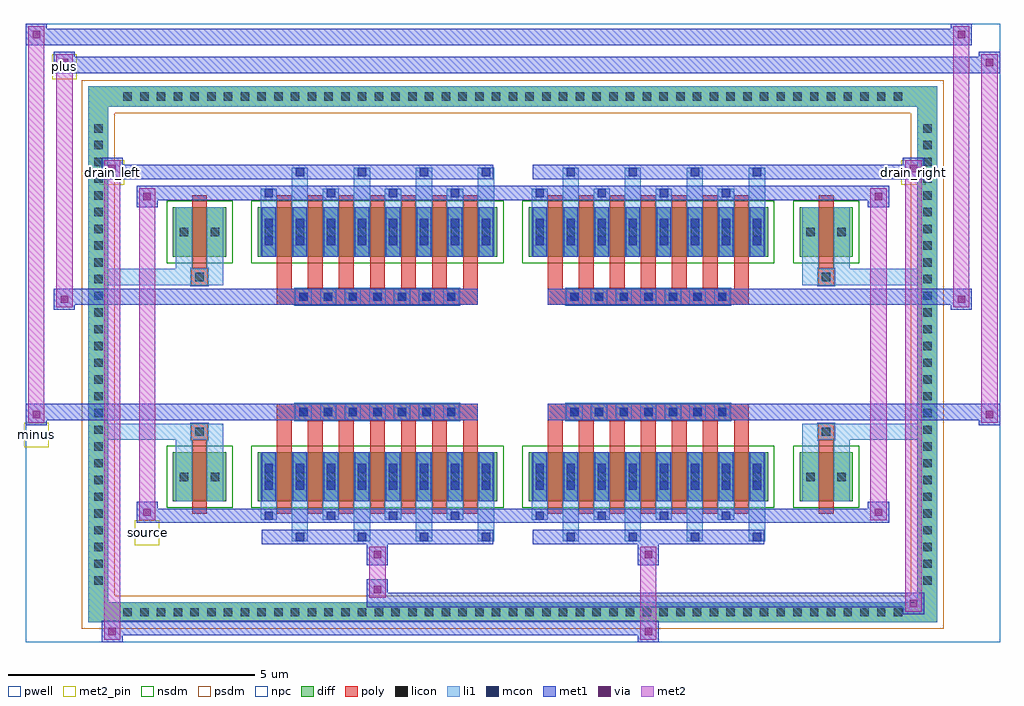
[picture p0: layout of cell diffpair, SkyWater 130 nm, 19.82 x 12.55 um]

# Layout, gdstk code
import gdstk
lib = gdstk.Library(unit=1e-6, precision=5e-09)
def R(c, l, rs):  # rectangles x0, y0, x1, y1
    for r in rs: c.add(gdstk.rectangle(r[:2], r[2:], *l))
def A(c, l, x, y, w, h, nx, ny, dx, dy):  # array of equal rectangles
    R(c, l, [(x+i*dx, y+j*dy, x+i*dx+w, y+j*dy+h) for i in range(nx) for j in range(ny)])
def P(c, l, *ps):  # polygons
    for p in ps: c.add(gdstk.Polygon(p, *l))
pwell = (64, 44)
diff = (65, 20)
poly = (66, 20)
licon = (66, 44)
li1 = (67, 20)
mcon = (67, 44)
met1 = (68, 20)
via = (68, 44)
met2_pin = (69, 16)
met2 = (69, 20)
nsdm = (93, 44)
psdm = (94, 20)
npc = (95, 20)

diffpair = lib.new_cell('diffpair')
R(diffpair, pwell, [(-9.89,-5.84,9.89,6.71), (-7.21,-4.03,-0.01,-0.805), (0.01,-4.03,7.21,-0.805), (-7.21,0.805,-0.01,4.03), (0.01,0.805,7.21,4.03)])
A(diffpair, diff, -8.025, -5.44, 0.41, 0.41, 47, 2, 0.34, 10.47)
A(diffpair, diff, -8.62, -4.795, 0.41, 0.41, 1, 28, 0, 0.34)
A(diffpair, diff, 8.21, -4.795, 0.41, 0.41, 1, 28, 0, 0.34)
R(diffpair, diff, [(-8.025,-5.44,8.025,-5.03), (-8.62,-4.795,-8.21,4.795), (8.21,-4.795,8.62,4.795), (-6.9,-2.985,-5.82,-1.985), (-5.18,-2.985,-0.32,-1.985), (0.32,-2.985,5.18,-1.985), (5.82,-2.985,6.9,-1.985), (-6.9,1.985,-5.82,2.985), (-5.18,1.985,-0.32,2.985), (0.32,1.985,5.18,2.985), (5.82,1.985,6.9,2.985), (-8.025,5.03,8.025,5.44)])
P(diffpair, diff, [(8.62,5.44),(-8.62,5.44),(-8.62,-5.03),(-8.21,-5.03),(-8.21,5.03),(8.21,5.03),(8.21,-5.03),(-8.21,-5.03),(-8.62,-5.03),(-8.62,-5.44),(8.62,-5.44)])
A(diffpair, poly, -4.79, -3.235, 0.3, 1.5, 7, 2, 0.63, 4.97)
A(diffpair, poly, 0.71, -3.235, 0.3, 1.5, 7, 2, 0.63, 4.97)
A(diffpair, poly, -4.79, -1.735, 0.3, 0.4, 7, 2, 0.63, 3.07)
A(diffpair, poly, 0.71, -1.735, 0.3, 0.4, 7, 2, 0.63, 3.07)
A(diffpair, poly, -4.415, -1.335, 0.33, 0.33, 7, 2, 0.5, 2.34)
A(diffpair, poly, 1.085, -1.335, 0.33, 0.33, 7, 2, 0.5, 2.34)
R(diffpair, poly, [(-6.51,-3.235,-6.21,-1.735), (6.21,-3.235,6.51,-1.735), (-6.525,-1.735,-6.195,-1.405), (-6.525,-1.735,-6.195,-1.405), (6.195,-1.735,6.525,-1.405), (6.195,-1.735,6.525,-1.405), (-4.79,-1.335,-0.71,-1.005), (0.71,-1.335,4.79,-1.005), (-4.79,1.005,-0.71,1.335), (0.71,1.005,4.79,1.335), (-6.525,1.405,-6.195,1.735), (-6.525,1.405,-6.195,1.735), (6.195,1.405,6.525,1.735), (6.195,1.405,6.525,1.735), (-6.51,1.735,-6.21,3.235), (6.21,1.735,6.51,3.235)])
A(diffpair, licon, -7.905, -5.32, 0.17, 0.17, 47, 2, 0.34, 10.47)
A(diffpair, licon, -8.5, -4.675, 0.17, 0.17, 1, 28, 0, 0.34)
A(diffpair, licon, 8.33, -4.675, 0.17, 0.17, 1, 28, 0, 0.34)
A(diffpair, licon, -5.04, -2.57, 0.17, 0.17, 8, 2, 0.63, 4.97)
A(diffpair, licon, 0.46, -2.57, 0.17, 0.17, 8, 2, 0.63, 4.97)
A(diffpair, licon, -4.335, -1.255, 0.17, 0.17, 7, 2, 0.5, 2.34)
A(diffpair, licon, 1.165, -1.255, 0.17, 0.17, 7, 2, 0.5, 2.34)
R(diffpair, licon, [(-6.76,-2.57,-6.59,-2.4), (-6.13,-2.57,-5.96,-2.4), (5.96,-2.57,6.13,-2.4), (6.59,-2.57,6.76,-2.4), (-6.445,-1.655,-6.275,-1.485), (6.275,-1.655,6.445,-1.485), (-6.445,1.485,-6.275,1.655), (6.275,1.485,6.445,1.655), (-6.76,2.4,-6.59,2.57), (-6.13,2.4,-5.96,2.57), (5.96,2.4,6.13,2.57), (6.59,2.4,6.76,2.57)])
A(diffpair, li1, -7.985, -5.4, 0.33, 0.33, 47, 2, 0.34, 10.47)
A(diffpair, li1, -8.58, -4.755, 0.33, 0.33, 1, 28, 0, 0.34)
A(diffpair, li1, 8.25, -4.755, 0.33, 0.33, 1, 28, 0, 0.34)
A(diffpair, li1, -4.49, -3.79, 0.33, 0.805, 4, 2, 1.26, 6.775)
A(diffpair, li1, -4.41, -3.79, 0.17, 0.17, 4, 2, 1.26, 7.41)
A(diffpair, li1, 1.01, -3.79, 0.33, 0.805, 4, 2, 1.26, 6.775)
A(diffpair, li1, 1.09, -3.79, 0.17, 0.17, 4, 2, 1.26, 7.41)
A(diffpair, li1, -5.12, -3.36, 0.33, 0.375, 4, 2, 1.26, 6.345)
A(diffpair, li1, -5.04, -3.36, 0.17, 0.17, 4, 2, 1.26, 6.55)
A(diffpair, li1, 0.38, -3.36, 0.33, 0.375, 4, 2, 1.26, 6.345)
A(diffpair, li1, 0.46, -3.36, 0.17, 0.17, 4, 2, 1.26, 6.55)
A(diffpair, li1, -5.12, -2.985, 0.33, 1, 8, 2, 0.63, 4.97)
A(diffpair, li1, 0.38, -2.985, 0.33, 1, 8, 2, 0.63, 4.97)
A(diffpair, li1, -5.04, -2.75, 0.17, 0.17, 8, 2, 0.63, 0.36)
A(diffpair, li1, -5.04, -2.75, 0.17, 0.53, 8, 2, 0.63, 4.97)
A(diffpair, li1, 0.46, -2.75, 0.17, 0.17, 8, 2, 0.63, 0.36)
A(diffpair, li1, 0.46, -2.75, 0.17, 0.53, 8, 2, 0.63, 4.97)
A(diffpair, li1, -5.12, -2.65, 0.33, 0.33, 8, 2, 0.63, 4.97)
A(diffpair, li1, 0.38, -2.65, 0.33, 0.33, 8, 2, 0.63, 4.97)
A(diffpair, li1, -4.415, -1.335, 0.33, 0.33, 7, 2, 0.5, 2.34)
A(diffpair, li1, 1.085, -1.335, 0.33, 0.33, 7, 2, 0.5, 2.34)
A(diffpair, li1, -5.04, 2.22, 0.17, 0.17, 8, 2, 0.63, 0.36)
A(diffpair, li1, 0.46, 2.22, 0.17, 0.17, 8, 2, 0.63, 0.36)
R(diffpair, li1, [(-8.62,-5.44,-8.21,-5.03), (-8.62,-5.44,-8.21,-5.03), (-8.21,-5.44,8.21,-5.03), (8.21,-5.44,8.62,-5.03), (8.21,-5.44,8.62,-5.03), (-8.62,-5.03,-8.21,5.03), (8.21,-5.03,8.62,5.03), (-6.84,-2.985,-6.51,-1.985), (-6.21,-2.985,-5.88,-1.985), (5.88,-2.985,6.21,-1.985), (6.51,-2.985,6.84,-1.985), (-6.84,-2.65,-6.51,-2.32), (-6.21,-2.65,-5.88,-2.32), (5.88,-2.65,6.21,-2.32), (6.51,-2.65,6.84,-2.32), (-6.84,-1.985,-6.51,-1.405), (-6.21,-1.985,-5.88,-1.405), (5.88,-1.985,6.21,-1.405), (6.51,-1.985,6.84,-1.405), (-8.62,-1.735,-6.525,-1.405), (-6.84,-1.735,-6.525,-1.405), (-6.525,-1.735,-6.195,-1.405), (-6.195,-1.735,-5.88,-1.405), (5.88,-1.735,6.195,-1.405), (6.195,-1.735,6.525,-1.405), (6.195,-1.735,8.62,-1.405), (6.525,-1.735,6.84,-1.405), (-8.62,1.405,-6.525,1.735), (-6.84,1.405,-6.525,1.735), (-6.84,1.405,-6.51,1.985), (-6.525,1.405,-6.195,1.735), (-6.21,1.405,-5.88,1.985), (-6.195,1.405,-5.88,1.735), (5.88,1.405,6.195,1.735), (5.88,1.405,6.21,1.985), (6.195,1.405,6.525,1.735), (6.195,1.405,8.62,1.735), (6.51,1.405,6.84,1.985), (6.525,1.405,6.84,1.735), (-6.84,1.985,-6.51,2.985), (-6.21,1.985,-5.88,2.985), (5.88,1.985,6.21,2.985), (6.51,1.985,6.84,2.985), (-6.84,2.32,-6.51,2.65), (-6.21,2.32,-5.88,2.65), (5.88,2.32,6.21,2.65), (6.51,2.32,6.84,2.65), (-8.62,5.03,-8.21,5.44), (-8.62,5.03,-8.21,5.44), (-8.21,5.03,8.21,5.44), (8.21,5.03,8.62,5.44), (8.21,5.03,8.62,5.44)])
A(diffpair, mcon, -4.41, -3.79, 0.17, 0.17, 4, 2, 1.26, 7.41)
A(diffpair, mcon, 1.09, -3.79, 0.17, 0.17, 4, 2, 1.26, 7.41)
A(diffpair, mcon, -5.04, -3.36, 0.17, 0.17, 4, 2, 1.26, 6.55)
A(diffpair, mcon, 0.46, -3.36, 0.17, 0.17, 4, 2, 1.26, 6.55)
A(diffpair, mcon, -5.04, -2.75, 0.17, 0.17, 8, 2, 0.63, 0.36)
A(diffpair, mcon, 0.46, -2.75, 0.17, 0.17, 8, 2, 0.63, 0.36)
A(diffpair, mcon, -4.335, -1.255, 0.17, 0.17, 7, 2, 0.5, 2.34)
A(diffpair, mcon, 1.165, -1.255, 0.17, 0.17, 7, 2, 0.5, 2.34)
A(diffpair, mcon, -5.04, 2.22, 0.17, 0.17, 8, 2, 0.63, 0.36)
A(diffpair, mcon, 0.46, 2.22, 0.17, 0.17, 8, 2, 0.63, 0.36)
A(diffpair, met1, -4.47, -3.85, 0.29, 0.29, 4, 2, 1.26, 7.41)
A(diffpair, met1, 1.03, -3.85, 0.29, 0.29, 4, 2, 1.26, 7.41)
A(diffpair, met1, -5.1, -3.42, 0.29, 0.29, 4, 2, 1.26, 6.55)
A(diffpair, met1, 0.4, -3.42, 0.29, 0.29, 4, 2, 1.26, 6.55)
A(diffpair, met1, -5.1, -2.985, 0.29, 1, 8, 2, 0.63, 4.97)
A(diffpair, met1, 0.4, -2.985, 0.29, 1, 8, 2, 0.63, 4.97)
A(diffpair, met1, -5.1, -2.81, 0.29, 0.29, 8, 2, 0.63, 0.36)
A(diffpair, met1, 0.4, -2.81, 0.29, 0.29, 8, 2, 0.63, 0.36)
A(diffpair, met1, -4.395, -1.315, 0.29, 0.29, 7, 2, 0.5, 2.34)
A(diffpair, met1, 1.105, -1.315, 0.29, 0.29, 7, 2, 0.5, 2.34)
A(diffpair, met1, -5.1, 2.16, 0.29, 0.29, 8, 2, 0.63, 0.36)
A(diffpair, met1, 0.4, 2.16, 0.29, 0.29, 8, 2, 0.63, 0.36)
R(diffpair, met1, [(-8.35,-5.84,-7.92,-5.41), (2.535,-5.84,2.965,-5.41), (-8.35,-5.7,2.965,-5.41), (7.92,-5.27,8.35,-4.84), (-2.965,-5.13,8.35,-4.84), (-2.965,-4.99,-2.535,-4.56), (-2.965,-4.28,-2.535,-3.85), (2.535,-4.28,2.965,-3.85), (-5.1,-3.85,-0.4,-3.56), (0.4,-3.85,5.1,-3.56), (-7.64,-3.42,-7.21,-2.99), (-7.64,-3.42,-5.1,-3.13), (-5.1,-3.42,-0.4,-3.13), (-0.4,-3.42,0.4,-3.13), (0.4,-3.42,5.1,-3.13), (5.1,-3.42,7.64,-3.13), (7.21,-3.42,7.64,-2.99), (-9.89,-1.435,-9.46,-1.005), (9.46,-1.435,9.89,-1.005), (-9.89,-1.335,-0.71,-1.005), (-4.79,-1.335,-0.71,-1.005), (0.71,-1.335,4.79,-1.005), (0.71,-1.335,9.89,-1.005), (-9.32,0.905,-8.89,1.335), (8.89,0.905,9.32,1.335), (-9.32,1.005,-4.79,1.335), (-4.79,1.005,-0.71,1.335), (0.71,1.005,4.79,1.335), (4.79,1.005,9.32,1.335), (-7.64,2.99,-7.21,3.42), (7.21,2.99,7.64,3.42), (-7.64,3.13,-5.1,3.42), (-5.1,3.13,-0.4,3.42), (-0.4,3.13,0.4,3.42), (0.4,3.13,5.1,3.42), (5.1,3.13,7.64,3.42), (-8.35,3.56,-7.92,3.99), (-8.35,3.56,-5.1,3.85), (-5.1,3.56,-0.4,3.85), (0.4,3.56,5.1,3.85), (5.1,3.56,8.35,3.85), (7.92,3.56,8.35,3.99), (-9.32,5.71,-8.89,6.14), (-9.32,5.71,-7.21,6.04), (-7.21,5.71,7.21,6.04), (7.21,5.71,9.89,6.04), (9.46,5.71,9.89,6.14), (-9.89,6.28,-9.46,6.71), (-9.89,6.28,-7.21,6.61), (-7.21,6.28,7.21,6.61), (7.21,6.28,9.32,6.61), (8.89,6.28,9.32,6.71)])
R(diffpair, via, [(-8.21,-5.7,-8.06,-5.55), (2.675,-5.7,2.825,-5.55), (8.06,-5.13,8.21,-4.98), (-2.825,-4.85,-2.675,-4.7), (-2.825,-4.14,-2.675,-3.99), (2.675,-4.14,2.825,-3.99), (-7.5,-3.28,-7.35,-3.13), (7.35,-3.28,7.5,-3.13), (-9.75,-1.295,-9.6,-1.145), (9.6,-1.295,9.75,-1.145), (-9.18,1.045,-9.03,1.195), (9.03,1.045,9.18,1.195), (-7.5,3.13,-7.35,3.28), (7.35,3.13,7.5,3.28), (-8.21,3.7,-8.06,3.85), (8.06,3.7,8.21,3.85), (-9.18,5.85,-9.03,6), (9.6,5.85,9.75,6), (-9.75,6.42,-9.6,6.57), (9.03,6.42,9.18,6.57)])
R(diffpair, met2_pin, [(-7.675,-3.87,-7.175,-3.37), (-9.925,-1.885,-9.425,-1.385), (-8.385,3.44,-7.885,3.94), (7.885,3.44,8.385,3.94), (-9.355,5.59,-8.855,6.09)])
R(diffpair, met2, [(-8.3,-5.79,-7.97,-5.46), (-8.3,-5.79,-7.97,3.94), (2.585,-5.79,2.915,-5.46), (2.585,-5.46,2.915,-4.23), (7.97,-5.22,8.3,-4.89), (7.97,-5.22,8.3,3.94), (-2.915,-4.94,-2.585,-4.61), (-2.915,-4.61,-2.585,-4.23), (-2.915,-4.23,-2.585,-3.9), (2.585,-4.23,2.915,-3.9), (-7.59,-3.37,-7.26,-3.04), (-7.59,-3.37,-7.26,3.37), (7.26,-3.37,7.59,-3.04), (7.26,-3.37,7.59,3.37), (-9.84,-1.385,-9.51,-1.055), (-9.84,-1.385,-9.51,6.66), (9.51,-1.385,9.84,-1.055), (9.51,-1.385,9.84,6.09), (-9.27,0.955,-8.94,1.285), (-9.27,0.955,-8.94,6.09), (8.94,0.955,9.27,1.285), (8.94,0.955,9.27,6.66), (-7.59,3.04,-7.26,3.37), (7.26,3.04,7.59,3.37), (-8.3,3.61,-7.97,3.94), (7.97,3.61,8.3,3.94), (-9.27,5.76,-8.94,6.09), (9.51,5.76,9.84,6.09), (-9.84,6.33,-9.51,6.66), (8.94,6.33,9.27,6.66)])
P(diffpair, met2, [(9.84,-1.385),(9.84,-1.385),(9.84,-1.055),(9.84,-1.055)],
  [(9.84,5.76),(9.84,5.76),(9.84,6.09),(9.84,6.09)],
  [(-9.51,-1.385),(-9.51,-1.385),(-9.51,-1.055),(-9.51,-1.055)],
  [(-9.51,6.33),(-9.51,6.33),(-9.51,6.66),(-9.51,6.66)],
  [(9.27,0.955),(9.27,0.955),(9.27,1.285),(9.27,1.285)],
  [(9.27,6.33),(9.27,6.33),(9.27,6.66),(9.27,6.66)],
  [(-8.94,0.955),(-8.94,0.955),(-8.94,1.285),(-8.94,1.285)],
  [(-8.94,5.76),(-8.94,5.76),(-8.94,6.09),(-8.94,6.09)],
  [(-7.97,-5.79),(-7.97,-5.79),(-7.97,-5.46),(-7.97,-5.46)],
  [(-7.97,3.61),(-7.97,3.61),(-7.97,3.94),(-7.97,3.94)],
  [(8.3,-5.22),(8.3,-5.22),(8.3,-4.89),(8.3,-4.89)],
  [(8.3,3.61),(8.3,3.61),(8.3,3.94),(8.3,3.94)],
  [(-7.26,-3.37),(-7.26,-3.37),(-7.26,-3.04),(-7.26,-3.04)],
  [(-7.26,3.04),(-7.26,3.04),(-7.26,3.37),(-7.26,3.37)],
  [(7.59,-3.37),(7.59,-3.37),(7.59,-3.04),(7.59,-3.04)],
  [(7.59,3.04),(7.59,3.04),(7.59,3.37),(7.59,3.37)])
R(diffpair, nsdm, [(-7.03,-3.115,-5.69,-1.855), (-5.31,-3.115,-0.19,-1.855), (0.19,-3.115,5.31,-1.855), (5.69,-3.115,7.03,-1.855), (-7.03,1.855,-5.69,3.115), (-5.31,1.855,-0.19,3.115), (0.19,1.855,5.31,3.115), (5.69,1.855,7.03,3.115)])
P(diffpair, psdm, [(8.75,5.57),(-8.75,5.57),(-8.75,-4.9),(-8.08,-4.9),(-8.08,4.9),(8.08,4.9),(8.08,-4.9),(-8.08,-4.9),(-8.75,-4.9),(-8.75,-5.57),(8.75,-5.57)])
A(diffpair, npc, -4.435, -1.355, 0.37, 0.37, 7, 2, 0.5, 2.34)
A(diffpair, npc, 1.065, -1.355, 0.37, 0.37, 7, 2, 0.5, 2.34)
R(diffpair, npc, [(-6.545,-1.755,-6.175,-1.385), (6.175,-1.755,6.545,-1.385), (-4.435,-1.355,-3.565,-0.985), (-4.435,-1.355,-3.565,-0.985), (-3.935,-1.355,-3.065,-0.985), (-3.935,-1.355,-3.065,-0.985), (-3.435,-1.355,-2.565,-0.985), (-3.435,-1.355,-2.565,-0.985), (-2.935,-1.355,-2.065,-0.985), (-2.935,-1.355,-2.065,-0.985), (-2.435,-1.355,-1.565,-0.985), (-2.435,-1.355,-1.565,-0.985), (-1.935,-1.355,-1.065,-0.985), (-1.935,-1.355,-1.065,-0.985), (1.065,-1.355,1.935,-0.985), (1.065,-1.355,1.935,-0.985), (1.565,-1.355,2.435,-0.985), (1.565,-1.355,2.435,-0.985), (2.065,-1.355,2.935,-0.985), (2.065,-1.355,2.935,-0.985), (2.565,-1.355,3.435,-0.985), (2.565,-1.355,3.435,-0.985), (3.065,-1.355,3.935,-0.985), (3.065,-1.355,3.935,-0.985), (3.565,-1.355,4.435,-0.985), (3.565,-1.355,4.435,-0.985), (-4.435,0.985,-3.565,1.355), (-4.435,0.985,-3.565,1.355), (-3.935,0.985,-3.065,1.355), (-3.935,0.985,-3.065,1.355), (-3.435,0.985,-2.565,1.355), (-3.435,0.985,-2.565,1.355), (-2.935,0.985,-2.065,1.355), (-2.935,0.985,-2.065,1.355), (-2.435,0.985,-1.565,1.355), (-2.435,0.985,-1.565,1.355), (-1.935,0.985,-1.065,1.355), (-1.935,0.985,-1.065,1.355), (1.065,0.985,1.935,1.355), (1.065,0.985,1.935,1.355), (1.565,0.985,2.435,1.355), (1.565,0.985,2.435,1.355), (2.065,0.985,2.935,1.355), (2.065,0.985,2.935,1.355), (2.565,0.985,3.435,1.355), (2.565,0.985,3.435,1.355), (3.065,0.985,3.935,1.355), (3.065,0.985,3.935,1.355), (3.565,0.985,4.435,1.355), (3.565,0.985,4.435,1.355), (-6.545,1.385,-6.175,1.755), (6.175,1.385,6.545,1.755)])
diffpair.add(gdstk.Label('minus', (-9.675,-1.635), layer=69, texttype=5))
diffpair.add(gdstk.Label('drain_right', (8.135,3.69), layer=69, texttype=5))
diffpair.add(gdstk.Label('drain_left', (-8.135,3.69), layer=69, texttype=5))
diffpair.add(gdstk.Label('source', (-7.425,-3.62), layer=69, texttype=5))
diffpair.add(gdstk.Label('plus', (-9.105,5.84), layer=69, texttype=5))

lib.write_gds('diffpair.gds')
